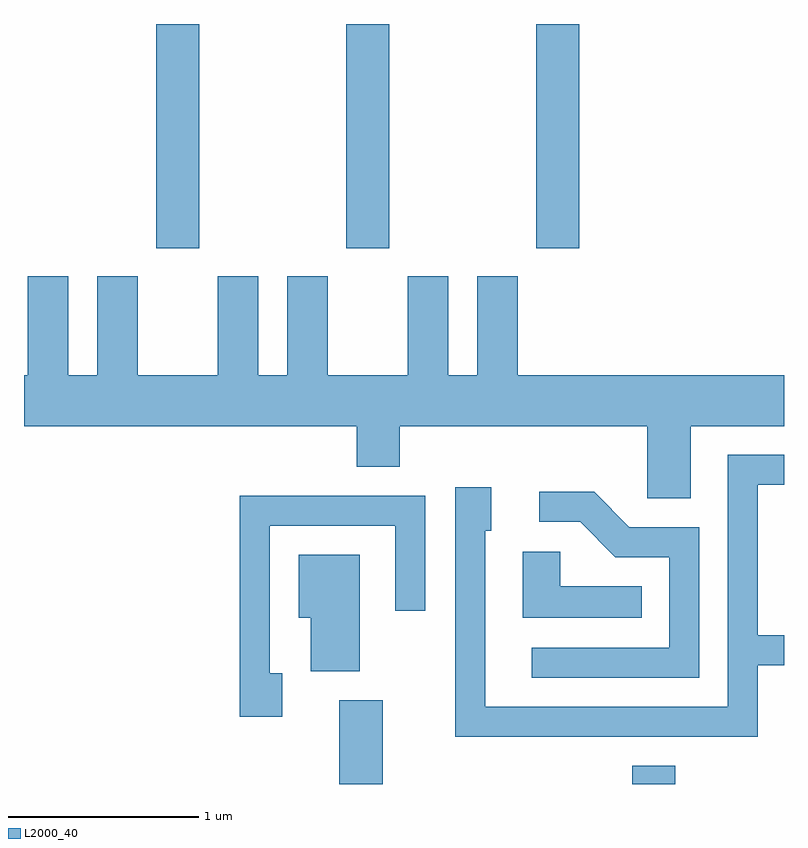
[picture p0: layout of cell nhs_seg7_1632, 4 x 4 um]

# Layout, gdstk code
import gdstk
lib = gdstk.Library(unit=1e-6, precision=1e-09)
def R(c, l, rs):  # rectangles x0, y0, x1, y1
    for r in rs: c.add(gdstk.rectangle(r[:2], r[2:], *l))
def A(c, l, x, y, w, h, nx, ny, dx, dy):  # array of equal rectangles
    R(c, l, [(x+i*dx, y+j*dy, x+i*dx+w, y+j*dy+h) for i in range(nx) for j in range(ny)])
def P(c, l, *ps):  # polygons
    for p in ps: c.add(gdstk.Polygon(p, *l))
L2000_40 = (2000, 40)

nhs_seg7_1632 = lib.new_cell('nhs_seg7_1632')
A(nhs_seg7_1632, L2000_40, 236.306, 1673.071, 0.228, 1.181, 3, 1, 1, 0)
R(nhs_seg7_1632, L2000_40, [(237.271,1670.252,237.499,1670.694), (238.811,1670.252,239.039,1670.349)])
P(nhs_seg7_1632, L2000_40, [(239.119,1672.136),(239.611,1672.136),(239.611,1672.404),(238.209,1672.404),(238.209,1672.924),(237.996,1672.924),(237.996,1672.404),(237.844,1672.404),(237.844,1672.924),(237.631,1672.924),(237.631,1672.404),(237.209,1672.404),(237.209,1672.924),(236.996,1672.924),(236.996,1672.404),(236.844,1672.404),(236.844,1672.924),(236.631,1672.924),(236.631,1672.404),(236.209,1672.404),(236.209,1672.924),(235.996,1672.924),(235.996,1672.404),(235.844,1672.404),(235.844,1672.924),(235.631,1672.924),(235.631,1672.404),(235.611,1672.404),(235.611,1672.136),(237.361,1672.136),(237.361,1671.921),(237.589,1671.921),(237.589,1672.136),(238.891,1672.136),(238.891,1671.756),(239.119,1671.756)],
  [(239.474,1670.876),(239.611,1670.876),(239.611,1671.034),(239.474,1671.034),(239.474,1671.826),(239.611,1671.826),(239.611,1671.984),(239.316,1671.984),(239.316,1670.659),(238.039,1670.659),(238.039,1671.586),(238.069,1671.586),(238.069,1671.814),(237.881,1671.814),(237.881,1670.501),(239.474,1670.501)],
  [(239.164,1671.604),(238.797,1671.604),(238.612,1671.789),(238.323,1671.789),(238.323,1671.631),(238.539,1671.631),(238.724,1671.446),(239.006,1671.446),(239.006,1670.969),(238.283,1670.969),(238.283,1670.811),(239.164,1670.811)],
  [(236.969,1670.834),(236.904,1670.834),(236.904,1671.611),(237.566,1671.611),(237.566,1671.163),(237.724,1671.163),(237.724,1671.769),(236.746,1671.769),(236.746,1670.606),(236.969,1670.606)],
  [(238.863,1671.294),(238.434,1671.294),(238.434,1671.474),(238.236,1671.474),(238.236,1671.126),(238.863,1671.126)],
  [(237.379,1671.459),(237.056,1671.459),(237.056,1671.126),(237.121,1671.126),(237.121,1670.846),(237.379,1670.846)])

lib.write_gds('nhs_seg7_1632.gds')
